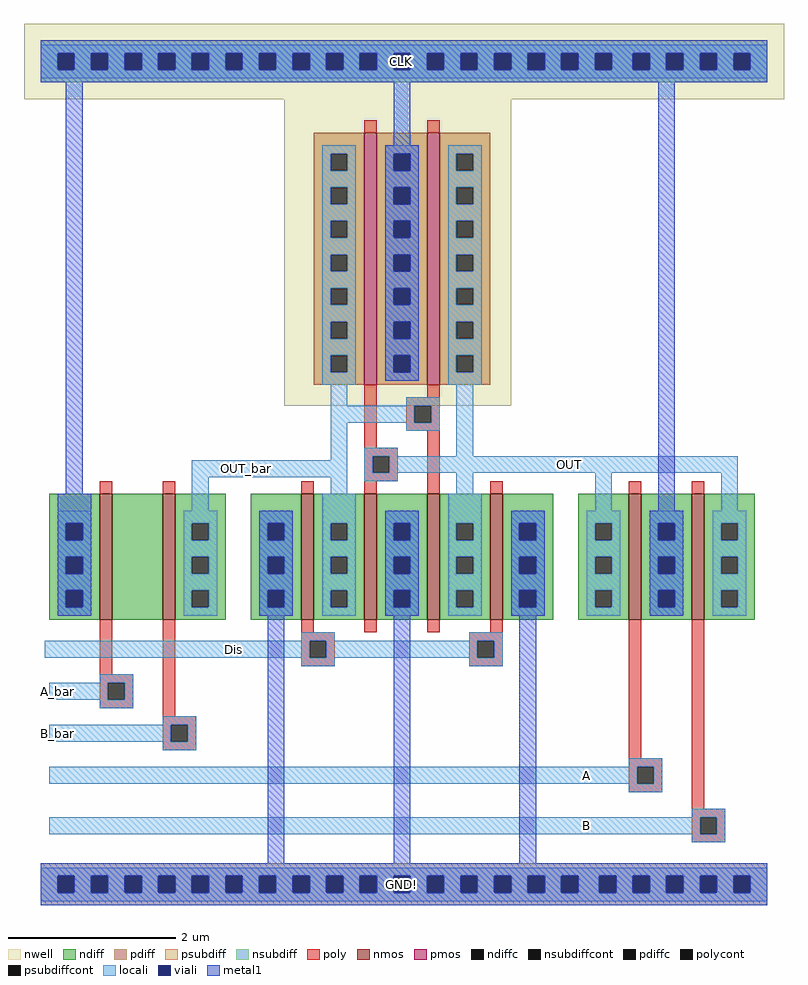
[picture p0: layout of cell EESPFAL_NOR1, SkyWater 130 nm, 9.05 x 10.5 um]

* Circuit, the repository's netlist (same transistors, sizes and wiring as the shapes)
* NGSPICE file created from EESPFAL_NOR1.ext - technology: sky130A

.subckt EESPFAL_NOR1 A A_bar B B_bar OUT OUT_bar Dis GND CLK
X0 OUT B CLK GND sky130_fd_pr__nfet_01v8 ad=2.7e+12p pd=1.26e+07u as=6.125e+12p ps=2.67e+07u w=1.5e+06u l=150000u
X1 GND Dis OUT GND sky130_fd_pr__nfet_01v8 ad=2.7e+12p pd=1.26e+07u as=0p ps=0u w=1.5e+06u l=150000u
X2 OUT_bar B_bar a_n1560_350# GND sky130_fd_pr__nfet_01v8 ad=1.8e+12p pd=8.4e+06u as=9e+11p ps=4.2e+06u w=1.5e+06u l=150000u
X3 GND OUT OUT_bar GND sky130_fd_pr__nfet_01v8 ad=0p pd=0u as=0p ps=0u w=1.5e+06u l=150000u
X4 CLK OUT OUT_bar CLK sky130_fd_pr__pfet_01v8 ad=1.8e+12p pd=7.2e+06u as=1.8e+12p ps=7.2e+06u w=3e+06u l=150000u
X5 a_n1560_350# A_bar CLK GND sky130_fd_pr__nfet_01v8 ad=0p pd=0u as=0p ps=0u w=1.5e+06u l=150000u
X6 CLK A OUT GND sky130_fd_pr__nfet_01v8 ad=0p pd=0u as=0p ps=0u w=1.5e+06u l=150000u
X7 OUT OUT_bar GND GND sky130_fd_pr__nfet_01v8 ad=0p pd=0u as=0p ps=0u w=1.5e+06u l=150000u
X8 OUT_bar Dis GND GND sky130_fd_pr__nfet_01v8 ad=0p pd=0u as=0p ps=0u w=1.5e+06u l=150000u
X9 OUT OUT_bar CLK CLK sky130_fd_pr__pfet_01v8 ad=1.8e+12p pd=7.2e+06u as=0p ps=0u w=3e+06u l=150000u
.ends

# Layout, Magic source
magic
tech sky130A
<< nwell >>
rect -885 795 20 885
rect -575 430 -305 795
<< nmos >>
rect -795 175 -780 325
rect -720 175 -705 325
rect -555 175 -540 325
rect -480 175 -465 325
rect -405 175 -390 325
rect -330 175 -315 325
rect -165 175 -150 325
rect -90 175 -75 325
<< pmos >>
rect -480 455 -465 755
rect -405 455 -390 755
<< ndiff >>
rect -855 290 -795 325
rect -855 270 -835 290
rect -815 270 -795 290
rect -855 250 -795 270
rect -855 230 -835 250
rect -815 230 -795 250
rect -855 210 -795 230
rect -855 190 -835 210
rect -815 190 -795 210
rect -855 175 -795 190
rect -780 175 -720 325
rect -705 290 -645 325
rect -705 270 -685 290
rect -665 270 -645 290
rect -705 250 -645 270
rect -705 230 -685 250
rect -665 230 -645 250
rect -705 210 -645 230
rect -705 190 -685 210
rect -665 190 -645 210
rect -705 175 -645 190
rect -615 290 -555 325
rect -615 270 -595 290
rect -575 270 -555 290
rect -615 250 -555 270
rect -615 230 -595 250
rect -575 230 -555 250
rect -615 210 -555 230
rect -615 190 -595 210
rect -575 190 -555 210
rect -615 175 -555 190
rect -540 290 -480 325
rect -540 270 -520 290
rect -500 270 -480 290
rect -540 250 -480 270
rect -540 230 -520 250
rect -500 230 -480 250
rect -540 210 -480 230
rect -540 190 -520 210
rect -500 190 -480 210
rect -540 175 -480 190
rect -465 290 -405 325
rect -465 270 -445 290
rect -425 270 -405 290
rect -465 250 -405 270
rect -465 230 -445 250
rect -425 230 -405 250
rect -465 210 -405 230
rect -465 190 -445 210
rect -425 190 -405 210
rect -465 175 -405 190
rect -390 290 -330 325
rect -390 270 -370 290
rect -350 270 -330 290
rect -390 250 -330 270
rect -390 230 -370 250
rect -350 230 -330 250
rect -390 210 -330 230
rect -390 190 -370 210
rect -350 190 -330 210
rect -390 175 -330 190
rect -315 290 -255 325
rect -315 270 -295 290
rect -275 270 -255 290
rect -315 250 -255 270
rect -315 230 -295 250
rect -275 230 -255 250
rect -315 210 -255 230
rect -315 190 -295 210
rect -275 190 -255 210
rect -315 175 -255 190
rect -225 290 -165 325
rect -225 270 -205 290
rect -185 270 -165 290
rect -225 250 -165 270
rect -225 230 -205 250
rect -185 230 -165 250
rect -225 210 -165 230
rect -225 190 -205 210
rect -185 190 -165 210
rect -225 175 -165 190
rect -150 290 -90 325
rect -150 270 -130 290
rect -110 270 -90 290
rect -150 250 -90 270
rect -150 230 -130 250
rect -110 230 -90 250
rect -150 210 -90 230
rect -150 190 -130 210
rect -110 190 -90 210
rect -150 175 -90 190
rect -75 290 -15 325
rect -75 270 -55 290
rect -35 270 -15 290
rect -75 250 -15 270
rect -75 230 -55 250
rect -35 230 -15 250
rect -75 210 -15 230
rect -75 190 -55 210
rect -35 190 -15 210
rect -75 175 -15 190
<< pdiff >>
rect -540 730 -480 755
rect -540 710 -520 730
rect -500 710 -480 730
rect -540 690 -480 710
rect -540 670 -520 690
rect -500 670 -480 690
rect -540 650 -480 670
rect -540 630 -520 650
rect -500 630 -480 650
rect -540 610 -480 630
rect -540 590 -520 610
rect -500 590 -480 610
rect -540 570 -480 590
rect -540 550 -520 570
rect -500 550 -480 570
rect -540 530 -480 550
rect -540 510 -520 530
rect -500 510 -480 530
rect -540 490 -480 510
rect -540 470 -520 490
rect -500 470 -480 490
rect -540 455 -480 470
rect -465 730 -405 755
rect -465 710 -445 730
rect -425 710 -405 730
rect -465 690 -405 710
rect -465 670 -445 690
rect -425 670 -405 690
rect -465 650 -405 670
rect -465 630 -445 650
rect -425 630 -405 650
rect -465 610 -405 630
rect -465 590 -445 610
rect -425 590 -405 610
rect -465 570 -405 590
rect -465 550 -445 570
rect -425 550 -405 570
rect -465 530 -405 550
rect -465 510 -445 530
rect -425 510 -405 530
rect -465 490 -405 510
rect -465 470 -445 490
rect -425 470 -405 490
rect -465 455 -405 470
rect -390 730 -330 755
rect -390 710 -370 730
rect -350 710 -330 730
rect -390 690 -330 710
rect -390 670 -370 690
rect -350 670 -330 690
rect -390 650 -330 670
rect -390 630 -370 650
rect -350 630 -330 650
rect -390 610 -330 630
rect -390 590 -370 610
rect -350 590 -330 610
rect -390 570 -330 590
rect -390 550 -370 570
rect -350 550 -330 570
rect -390 530 -330 550
rect -390 510 -370 530
rect -350 510 -330 530
rect -390 490 -330 510
rect -390 470 -370 490
rect -350 470 -330 490
rect -390 455 -330 470
<< ndiffc >>
rect -835 270 -815 290
rect -835 230 -815 250
rect -835 190 -815 210
rect -685 270 -665 290
rect -685 230 -665 250
rect -685 190 -665 210
rect -595 270 -575 290
rect -595 230 -575 250
rect -595 190 -575 210
rect -520 270 -500 290
rect -520 230 -500 250
rect -520 190 -500 210
rect -445 270 -425 290
rect -445 230 -425 250
rect -445 190 -425 210
rect -370 270 -350 290
rect -370 230 -350 250
rect -370 190 -350 210
rect -295 270 -275 290
rect -295 230 -275 250
rect -295 190 -275 210
rect -205 270 -185 290
rect -205 230 -185 250
rect -205 190 -185 210
rect -130 270 -110 290
rect -130 230 -110 250
rect -130 190 -110 210
rect -55 270 -35 290
rect -55 230 -35 250
rect -55 190 -35 210
<< pdiffc >>
rect -520 710 -500 730
rect -520 670 -500 690
rect -520 630 -500 650
rect -520 590 -500 610
rect -520 550 -500 570
rect -520 510 -500 530
rect -520 470 -500 490
rect -445 710 -425 730
rect -445 670 -425 690
rect -445 630 -425 650
rect -445 590 -425 610
rect -445 550 -425 570
rect -445 510 -425 530
rect -445 470 -425 490
rect -370 710 -350 730
rect -370 670 -350 690
rect -370 630 -350 650
rect -370 590 -350 610
rect -370 550 -350 570
rect -370 510 -350 530
rect -370 470 -350 490
<< psubdiff >>
rect -865 -130 0 -115
rect -865 -150 -845 -130
rect -825 -150 -805 -130
rect -785 -150 -765 -130
rect -745 -150 -725 -130
rect -705 -150 -685 -130
rect -665 -150 -645 -130
rect -625 -150 -605 -130
rect -585 -150 -565 -130
rect -545 -150 -525 -130
rect -505 -150 -485 -130
rect -465 -150 -445 -130
rect -425 -150 -405 -130
rect -385 -150 -365 -130
rect -345 -150 -325 -130
rect -305 -150 -285 -130
rect -265 -150 -245 -130
rect -225 -150 -200 -130
rect -180 -150 -160 -130
rect -140 -150 -120 -130
rect -100 -150 -80 -130
rect -60 -150 -40 -130
rect -20 -150 0 -130
rect -865 -165 0 -150
<< nsubdiff >>
rect -865 850 0 865
rect -865 830 -845 850
rect -825 830 -805 850
rect -785 830 -765 850
rect -745 830 -725 850
rect -705 830 -685 850
rect -665 830 -645 850
rect -625 830 -605 850
rect -585 830 -565 850
rect -545 830 -525 850
rect -505 830 -485 850
rect -465 830 -445 850
rect -425 830 -405 850
rect -385 830 -365 850
rect -345 830 -325 850
rect -305 830 -285 850
rect -265 830 -245 850
rect -225 830 -205 850
rect -185 830 -160 850
rect -140 830 -120 850
rect -100 830 -80 850
rect -60 830 -40 850
rect -20 830 0 850
rect -865 815 0 830
<< psubdiffcont >>
rect -845 -150 -825 -130
rect -805 -150 -785 -130
rect -765 -150 -745 -130
rect -725 -150 -705 -130
rect -685 -150 -665 -130
rect -645 -150 -625 -130
rect -605 -150 -585 -130
rect -565 -150 -545 -130
rect -525 -150 -505 -130
rect -485 -150 -465 -130
rect -445 -150 -425 -130
rect -405 -150 -385 -130
rect -365 -150 -345 -130
rect -325 -150 -305 -130
rect -285 -150 -265 -130
rect -245 -150 -225 -130
rect -200 -150 -180 -130
rect -160 -150 -140 -130
rect -120 -150 -100 -130
rect -80 -150 -60 -130
rect -40 -150 -20 -130
<< nsubdiffcont >>
rect -845 830 -825 850
rect -805 830 -785 850
rect -765 830 -745 850
rect -725 830 -705 850
rect -685 830 -665 850
rect -645 830 -625 850
rect -605 830 -585 850
rect -565 830 -545 850
rect -525 830 -505 850
rect -485 830 -465 850
rect -445 830 -425 850
rect -405 830 -385 850
rect -365 830 -345 850
rect -325 830 -305 850
rect -285 830 -265 850
rect -245 830 -225 850
rect -205 830 -185 850
rect -160 830 -140 850
rect -120 830 -100 850
rect -80 830 -60 850
rect -40 830 -20 850
<< poly >>
rect -480 755 -465 770
rect -405 755 -390 770
rect -480 380 -465 455
rect -405 440 -390 455
rect -430 430 -390 440
rect -430 410 -420 430
rect -400 410 -390 430
rect -430 400 -390 410
rect -480 370 -440 380
rect -480 350 -470 370
rect -450 350 -440 370
rect -480 340 -440 350
rect -795 325 -780 340
rect -720 325 -705 340
rect -555 325 -540 340
rect -480 325 -465 340
rect -405 325 -390 400
rect -330 325 -315 340
rect -165 325 -150 340
rect -90 325 -75 340
rect -795 110 -780 175
rect -795 100 -755 110
rect -795 80 -785 100
rect -765 80 -755 100
rect -795 70 -755 80
rect -720 60 -705 175
rect -555 160 -540 175
rect -480 160 -465 175
rect -405 160 -390 175
rect -330 160 -315 175
rect -555 150 -515 160
rect -555 130 -545 150
rect -525 130 -515 150
rect -555 120 -515 130
rect -355 150 -315 160
rect -355 130 -345 150
rect -325 130 -315 150
rect -355 120 -315 130
rect -720 50 -680 60
rect -720 30 -710 50
rect -690 30 -680 50
rect -720 20 -680 30
rect -165 10 -150 175
rect -165 0 -125 10
rect -165 -20 -155 0
rect -135 -20 -125 0
rect -165 -30 -125 -20
rect -90 -50 -75 175
rect -90 -60 -50 -50
rect -90 -80 -80 -60
rect -60 -80 -50 -60
rect -90 -90 -50 -80
<< polycont >>
rect -420 410 -400 430
rect -470 350 -450 370
rect -785 80 -765 100
rect -545 130 -525 150
rect -345 130 -325 150
rect -710 30 -690 50
rect -155 -20 -135 0
rect -80 -80 -60 -60
<< locali >>
rect -865 850 0 860
rect -865 830 -845 850
rect -825 830 -805 850
rect -785 830 -765 850
rect -745 830 -725 850
rect -705 830 -685 850
rect -665 830 -645 850
rect -625 830 -605 850
rect -585 830 -565 850
rect -545 830 -525 850
rect -505 830 -485 850
rect -465 830 -445 850
rect -425 830 -405 850
rect -385 830 -365 850
rect -345 830 -325 850
rect -305 830 -285 850
rect -265 830 -245 850
rect -225 830 -205 850
rect -185 830 -160 850
rect -140 830 -120 850
rect -100 830 -80 850
rect -60 830 -40 850
rect -20 830 0 850
rect -865 820 0 830
rect -530 730 -490 740
rect -530 710 -520 730
rect -500 710 -490 730
rect -530 690 -490 710
rect -530 670 -520 690
rect -500 670 -490 690
rect -530 650 -490 670
rect -530 630 -520 650
rect -500 630 -490 650
rect -530 610 -490 630
rect -530 590 -520 610
rect -500 590 -490 610
rect -530 570 -490 590
rect -530 550 -520 570
rect -500 550 -490 570
rect -530 530 -490 550
rect -530 510 -520 530
rect -500 510 -490 530
rect -530 490 -490 510
rect -530 470 -520 490
rect -500 470 -490 490
rect -530 455 -490 470
rect -455 730 -415 740
rect -455 710 -445 730
rect -425 710 -415 730
rect -455 690 -415 710
rect -455 670 -445 690
rect -425 670 -415 690
rect -455 650 -415 670
rect -455 630 -445 650
rect -425 630 -415 650
rect -455 610 -415 630
rect -455 590 -445 610
rect -425 590 -415 610
rect -455 570 -415 590
rect -455 550 -445 570
rect -425 550 -415 570
rect -455 530 -415 550
rect -455 510 -445 530
rect -425 510 -415 530
rect -455 490 -415 510
rect -455 470 -445 490
rect -425 470 -415 490
rect -455 460 -415 470
rect -380 730 -340 740
rect -380 710 -370 730
rect -350 710 -340 730
rect -380 690 -340 710
rect -380 670 -370 690
rect -350 670 -340 690
rect -380 650 -340 670
rect -380 630 -370 650
rect -350 630 -340 650
rect -380 610 -340 630
rect -380 590 -370 610
rect -350 590 -340 610
rect -380 570 -340 590
rect -380 550 -370 570
rect -350 550 -340 570
rect -380 530 -340 550
rect -380 510 -370 530
rect -350 510 -340 530
rect -380 490 -340 510
rect -380 470 -370 490
rect -350 470 -340 490
rect -380 455 -340 470
rect -520 430 -500 455
rect -430 430 -390 440
rect -520 410 -420 430
rect -400 410 -390 430
rect -520 365 -500 410
rect -430 400 -390 410
rect -685 345 -500 365
rect -685 305 -665 345
rect -520 325 -500 345
rect -480 370 -440 380
rect -370 370 -350 455
rect -480 350 -470 370
rect -450 350 -35 370
rect -480 340 -440 350
rect -370 325 -350 350
rect -845 290 -805 305
rect -845 270 -835 290
rect -815 270 -805 290
rect -845 250 -805 270
rect -845 230 -835 250
rect -815 230 -805 250
rect -845 210 -805 230
rect -845 190 -835 210
rect -815 190 -805 210
rect -845 180 -805 190
rect -695 290 -655 305
rect -695 270 -685 290
rect -665 270 -655 290
rect -695 250 -655 270
rect -695 230 -685 250
rect -665 230 -655 250
rect -695 210 -655 230
rect -695 190 -685 210
rect -665 190 -655 210
rect -695 180 -655 190
rect -605 290 -565 305
rect -605 270 -595 290
rect -575 270 -565 290
rect -605 250 -565 270
rect -605 230 -595 250
rect -575 230 -565 250
rect -605 210 -565 230
rect -605 190 -595 210
rect -575 190 -565 210
rect -605 180 -565 190
rect -530 290 -490 325
rect -530 270 -520 290
rect -500 270 -490 290
rect -530 250 -490 270
rect -530 230 -520 250
rect -500 230 -490 250
rect -530 210 -490 230
rect -530 190 -520 210
rect -500 190 -490 210
rect -530 180 -490 190
rect -455 290 -415 305
rect -455 270 -445 290
rect -425 270 -415 290
rect -455 250 -415 270
rect -455 230 -445 250
rect -425 230 -415 250
rect -455 210 -415 230
rect -455 190 -445 210
rect -425 190 -415 210
rect -455 180 -415 190
rect -380 290 -340 325
rect -205 305 -185 350
rect -55 305 -35 350
rect -380 270 -370 290
rect -350 270 -340 290
rect -380 250 -340 270
rect -380 230 -370 250
rect -350 230 -340 250
rect -380 210 -340 230
rect -380 190 -370 210
rect -350 190 -340 210
rect -380 180 -340 190
rect -305 290 -265 305
rect -305 270 -295 290
rect -275 270 -265 290
rect -305 250 -265 270
rect -305 230 -295 250
rect -275 230 -265 250
rect -305 210 -265 230
rect -305 190 -295 210
rect -275 190 -265 210
rect -305 180 -265 190
rect -215 290 -175 305
rect -215 270 -205 290
rect -185 270 -175 290
rect -215 250 -175 270
rect -215 230 -205 250
rect -185 230 -175 250
rect -215 210 -175 230
rect -215 190 -205 210
rect -185 190 -175 210
rect -215 180 -175 190
rect -140 290 -100 305
rect -140 270 -130 290
rect -110 270 -100 290
rect -140 250 -100 270
rect -140 230 -130 250
rect -110 230 -100 250
rect -140 210 -100 230
rect -140 190 -130 210
rect -110 190 -100 210
rect -140 180 -100 190
rect -65 290 -25 305
rect -65 270 -55 290
rect -35 270 -25 290
rect -65 250 -25 270
rect -65 230 -55 250
rect -35 230 -25 250
rect -65 210 -25 230
rect -65 190 -55 210
rect -35 190 -25 210
rect -65 180 -25 190
rect -555 150 -515 160
rect -355 150 -315 160
rect -860 130 -545 150
rect -525 130 -345 150
rect -325 130 -315 150
rect -555 120 -515 130
rect -355 120 -315 130
rect -795 100 -755 110
rect -855 80 -785 100
rect -765 80 -755 100
rect -795 70 -755 80
rect -720 50 -680 60
rect -855 30 -710 50
rect -690 30 -680 50
rect -720 20 -680 30
rect -165 0 -125 10
rect -855 -20 -155 0
rect -135 -20 -125 0
rect -165 -30 -125 -20
rect -90 -60 -50 -50
rect -855 -80 -80 -60
rect -60 -80 -50 -60
rect -90 -90 -50 -80
rect -865 -130 0 -120
rect -865 -150 -845 -130
rect -825 -150 -805 -130
rect -785 -150 -765 -130
rect -745 -150 -725 -130
rect -705 -150 -685 -130
rect -665 -150 -645 -130
rect -625 -150 -605 -130
rect -585 -150 -565 -130
rect -545 -150 -525 -130
rect -505 -150 -485 -130
rect -465 -150 -445 -130
rect -425 -150 -405 -130
rect -385 -150 -365 -130
rect -345 -150 -325 -130
rect -305 -150 -285 -130
rect -265 -150 -245 -130
rect -225 -150 -200 -130
rect -180 -150 -160 -130
rect -140 -150 -120 -130
rect -100 -150 -80 -130
rect -60 -150 -40 -130
rect -20 -150 0 -130
rect -865 -160 0 -150
<< viali >>
rect -845 830 -825 850
rect -805 830 -785 850
rect -765 830 -745 850
rect -725 830 -705 850
rect -685 830 -665 850
rect -645 830 -625 850
rect -605 830 -585 850
rect -565 830 -545 850
rect -525 830 -505 850
rect -485 830 -465 850
rect -445 830 -425 850
rect -405 830 -385 850
rect -365 830 -345 850
rect -325 830 -305 850
rect -285 830 -265 850
rect -245 830 -225 850
rect -205 830 -185 850
rect -160 830 -140 850
rect -120 830 -100 850
rect -80 830 -60 850
rect -40 830 -20 850
rect -445 710 -425 730
rect -445 670 -425 690
rect -445 630 -425 650
rect -445 590 -425 610
rect -445 550 -425 570
rect -445 510 -425 530
rect -445 470 -425 490
rect -835 270 -815 290
rect -835 230 -815 250
rect -835 190 -815 210
rect -595 270 -575 290
rect -595 230 -575 250
rect -595 190 -575 210
rect -445 270 -425 290
rect -445 230 -425 250
rect -445 190 -425 210
rect -295 270 -275 290
rect -295 230 -275 250
rect -295 190 -275 210
rect -130 270 -110 290
rect -130 230 -110 250
rect -130 190 -110 210
rect -845 -150 -825 -130
rect -805 -150 -785 -130
rect -765 -150 -745 -130
rect -725 -150 -705 -130
rect -685 -150 -665 -130
rect -645 -150 -625 -130
rect -605 -150 -585 -130
rect -565 -150 -545 -130
rect -525 -150 -505 -130
rect -485 -150 -465 -130
rect -445 -150 -425 -130
rect -405 -150 -385 -130
rect -365 -150 -345 -130
rect -325 -150 -305 -130
rect -285 -150 -265 -130
rect -245 -150 -225 -130
rect -200 -150 -180 -130
rect -160 -150 -140 -130
rect -120 -150 -100 -130
rect -80 -150 -60 -130
rect -40 -150 -20 -130
<< metal1 >>
rect -865 850 0 865
rect -865 830 -845 850
rect -825 830 -805 850
rect -785 830 -765 850
rect -745 830 -725 850
rect -705 830 -685 850
rect -665 830 -645 850
rect -625 830 -605 850
rect -585 830 -565 850
rect -545 830 -525 850
rect -505 830 -485 850
rect -465 830 -445 850
rect -425 830 -405 850
rect -385 830 -365 850
rect -345 830 -325 850
rect -305 830 -285 850
rect -265 830 -245 850
rect -225 830 -205 850
rect -185 830 -160 850
rect -140 830 -120 850
rect -100 830 -80 850
rect -60 830 -40 850
rect -20 830 0 850
rect -865 815 0 830
rect -835 325 -815 815
rect -445 740 -425 815
rect -455 730 -415 740
rect -455 710 -445 730
rect -425 710 -415 730
rect -455 690 -415 710
rect -455 670 -445 690
rect -425 670 -415 690
rect -455 650 -415 670
rect -455 630 -445 650
rect -425 630 -415 650
rect -455 610 -415 630
rect -455 590 -445 610
rect -425 590 -415 610
rect -455 570 -415 590
rect -455 550 -445 570
rect -425 550 -415 570
rect -455 530 -415 550
rect -455 510 -445 530
rect -425 510 -415 530
rect -455 490 -415 510
rect -455 470 -445 490
rect -425 470 -415 490
rect -455 460 -415 470
rect -845 290 -805 325
rect -130 305 -110 815
rect -845 270 -835 290
rect -815 270 -805 290
rect -845 250 -805 270
rect -845 230 -835 250
rect -815 230 -805 250
rect -845 210 -805 230
rect -845 190 -835 210
rect -815 190 -805 210
rect -845 180 -805 190
rect -605 290 -565 305
rect -605 270 -595 290
rect -575 270 -565 290
rect -605 250 -565 270
rect -605 230 -595 250
rect -575 230 -565 250
rect -605 210 -565 230
rect -605 190 -595 210
rect -575 190 -565 210
rect -605 180 -565 190
rect -455 290 -415 305
rect -455 270 -445 290
rect -425 270 -415 290
rect -455 250 -415 270
rect -455 230 -445 250
rect -425 230 -415 250
rect -455 210 -415 230
rect -455 190 -445 210
rect -425 190 -415 210
rect -455 180 -415 190
rect -305 290 -265 305
rect -305 270 -295 290
rect -275 270 -265 290
rect -305 250 -265 270
rect -305 230 -295 250
rect -275 230 -265 250
rect -305 210 -265 230
rect -305 190 -295 210
rect -275 190 -265 210
rect -305 180 -265 190
rect -140 290 -100 305
rect -140 270 -130 290
rect -110 270 -100 290
rect -140 250 -100 270
rect -140 230 -130 250
rect -110 230 -100 250
rect -140 210 -100 230
rect -140 190 -130 210
rect -110 190 -100 210
rect -140 180 -100 190
rect -595 -115 -575 180
rect -445 -115 -425 180
rect -295 -115 -275 180
rect -865 -130 0 -115
rect -865 -150 -845 -130
rect -825 -150 -805 -130
rect -785 -150 -765 -130
rect -745 -150 -725 -130
rect -705 -150 -685 -130
rect -665 -150 -645 -130
rect -625 -150 -605 -130
rect -585 -150 -565 -130
rect -545 -150 -525 -130
rect -505 -150 -485 -130
rect -465 -150 -445 -130
rect -425 -150 -405 -130
rect -385 -150 -365 -130
rect -345 -150 -325 -130
rect -305 -150 -285 -130
rect -265 -150 -245 -130
rect -225 -150 -200 -130
rect -180 -150 -160 -130
rect -140 -150 -120 -130
rect -100 -150 -80 -130
rect -60 -150 -40 -130
rect -20 -150 0 -130
rect -865 -165 0 -150
<< labels >>
rlabel locali -640 135 -630 145 1 Dis
port 7 n
rlabel locali -240 355 -230 365 1 OUT
port 5 n
rlabel locali -625 350 -615 360 1 OUT_bar
port 6 n
rlabel locali -850 35 -840 45 1 B_bar
port 4 n
rlabel locali -850 85 -840 95 1 A_bar
port 2 n
rlabel locali -220 -15 -210 -5 1 A
port 1 n
rlabel locali -220 -75 -210 -65 1 B
port 3 n
rlabel metal1 -445 830 -425 850 1 CLK
port 8 n
rlabel metal1 -445 -150 -425 -130 5 GND!
port 9 s
<< end >>
